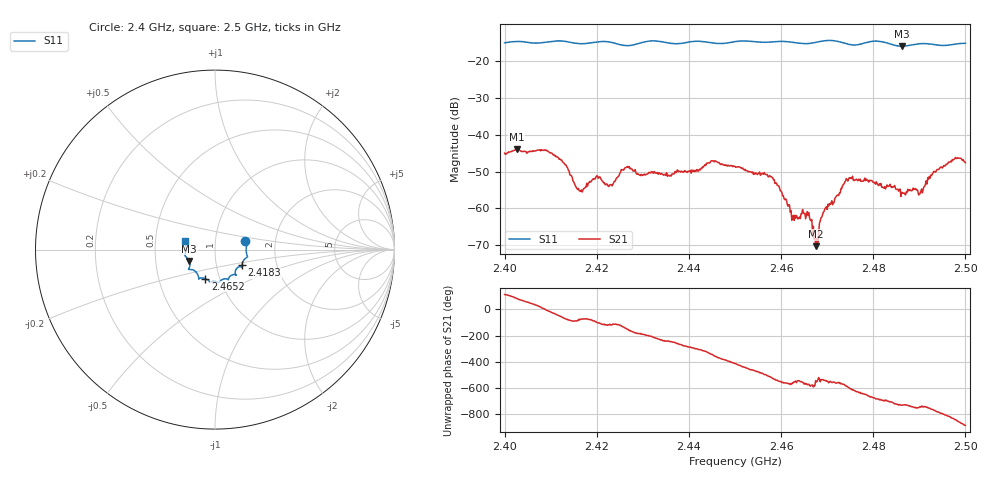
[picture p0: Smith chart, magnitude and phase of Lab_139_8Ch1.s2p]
# Hz S RI R 50
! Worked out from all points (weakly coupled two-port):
!   601 points, 2.4 GHz to 2.5 GHz, reference 50 ohm
!   highest |S21| = -43.93 dB at 2.4027 GHz (marker M1); lowest = -70.2 dB at 2.4675 GHz (marker M2)
!   lowest |S11| = -16.1 dB at 2.4862 GHz (marker M3), VSWR 1.37, Z = 37.2 - j4.88 ohm
!   |S11| at or under -10 dB: start of sweep to end of sweep
!   S12 and S22 are empty: the file has one direction only
!   S11 on the Smith chart (normalised r, x): 2.4 GHz: 1.40, +0.14; 2.4183 GHz: 1.33, -0.24; 2.4652 GHz: 0.85, -0.28; 2.5 GHz: 0.71, +0.07
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2.4e9  0.1682 0.0472  -0.00224 0.00513  0 0  0 0
2.402667e9  0.1789 0.0338  0.000847 0.00631  0 0  0 0
2.4105e9  0.1798 -0.0363  0.00475 -0.00242  0 0  0 0
2.416667e9  0.1555 -0.068  0.000478 -0.00172  0 0  0 0
2.418333e9  0.1502 -0.0864  0.000476 -0.00219  0 0  0 0
2.423e9  0.1491 -0.0976  -0.00101 -0.00185  0 0  0 0
2.4265e9  0.1221 -0.1035  -0.00311 -0.00189  0 0  0 0
2.433333e9  0.1172 -0.1416  -0.002 0.00211  0 0  0 0
2.445333e9  0.0597 -0.1625  0.00431 0.000739  0 0  0 0
2.45e9  0.0258 -0.1795  0.0022 -0.00297  0 0  0 0
2.458e9  -0.0164 -0.1785  -0.00253 -0.000781  0 0  0 0
2.462667e9  -0.0346 -0.1734  -0.000754 0.000283  0 0  0 0
2.465167e9  -0.0545 -0.1612  -0.000793 0.000335  0 0  0 0
2.466667e9  -0.0708 -0.1578  -0.000558 0.000431  0 0  0 0
2.4675e9  -0.0787 -0.1583  -0.000308 2.24e-05  0 0  0 0
2.469333e9  -0.0896 -0.163  -0.000914 3.07e-05  0 0  0 0
2.474333e9  -0.0967 -0.1381  -0.00166 0.00181  0 0  0 0
2.483333e9  -0.1415 -0.0966  0.00188 0.000655  0 0  0 0
2.486167e9  -0.1432 -0.0639  0.00163 -0.000334  0 0  0 0
2.490333e9  -0.1664 -0.0358  0.00152 -0.000768  0 0  0 0
2.494333e9  -0.1616 -0.00535  0.00132 -0.00317  0 0  0 0
2.5e9  -0.1656 0.0474  -0.00403 -0.00101  0 0  0 0
